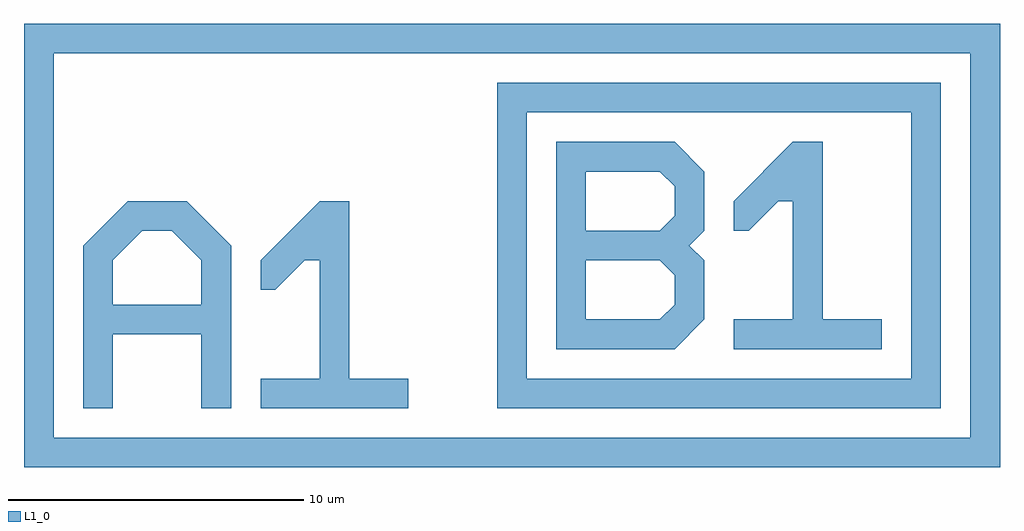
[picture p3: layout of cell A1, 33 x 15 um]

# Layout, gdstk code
import gdstk
lib = gdstk.Library(unit=1e-6, precision=5e-09)
def P(c, l, *ps):  # polygons
    for p in ps: c.add(gdstk.Polygon(p, *l))
L1_0 = (1, 0)

text_1_1 = lib.new_cell('TEXT$1$1')
P(text_1_1, L1_0, [(0,0),(0,5.5),(1.5,7),(3.5,7),(4.5,6),(2,6),(1,5),(1,3.5),(4,3.5),(4,5),(3,6),(4.5,6),(5,5.5),(5,0),(4,0),(4,2.5),(1,2.5),(1,0)],
  [(6,0),(6,1),(8,1),(8,5),(7.5,5),(6.5,4),(6,4),(6,5),(8,7),(9,7),(9,1),(11,1),(11,0)])

text_2_1 = lib.new_cell('TEXT$2$1')
P(text_2_1, L1_0, [(0,0),(0,7),(4,7),(5,6),(1,6),(1,4),(3.5,4),(4,4.5),(4,5.5),(3.5,6),(5,6),(5,4),(4.5,3.5),(5,3),(1,3),(1,1),(3.5,1),(4,1.5),(4,2.5),(3.5,3),(5,3),(5,1),(4,0)],
  [(6,0),(6,1),(8,1),(8,5),(7.5,5),(6.5,4),(6,4),(6,5),(8,7),(9,7),(9,1),(11,1),(11,0)])

c_b1 = lib.new_cell('B1')
c_b1.add(gdstk.FlexPath([(0.5,0.5),(0.5,10.5),(14.5,10.5),(14.5,0.5),(0.5,0.5)], 1, ends="extended", simple_path=True, layer=1, datatype=0))  # L1_0
c_b1.add(gdstk.Reference(text_2_1, (2,2)))

c_a1 = lib.new_cell('A1')
c_a1.add(gdstk.FlexPath([(0.5,0.5),(0.5,14.5),(32.5,14.5),(32.5,0.5),(0.5,0.5)], 1, ends="extended", simple_path=True, layer=1, datatype=0))  # L1_0
c_a1.add(gdstk.Reference(text_1_1, (2,2)))
c_a1.add(gdstk.Reference(c_b1, (16,2)))

lib.write_gds('A1.gds')
